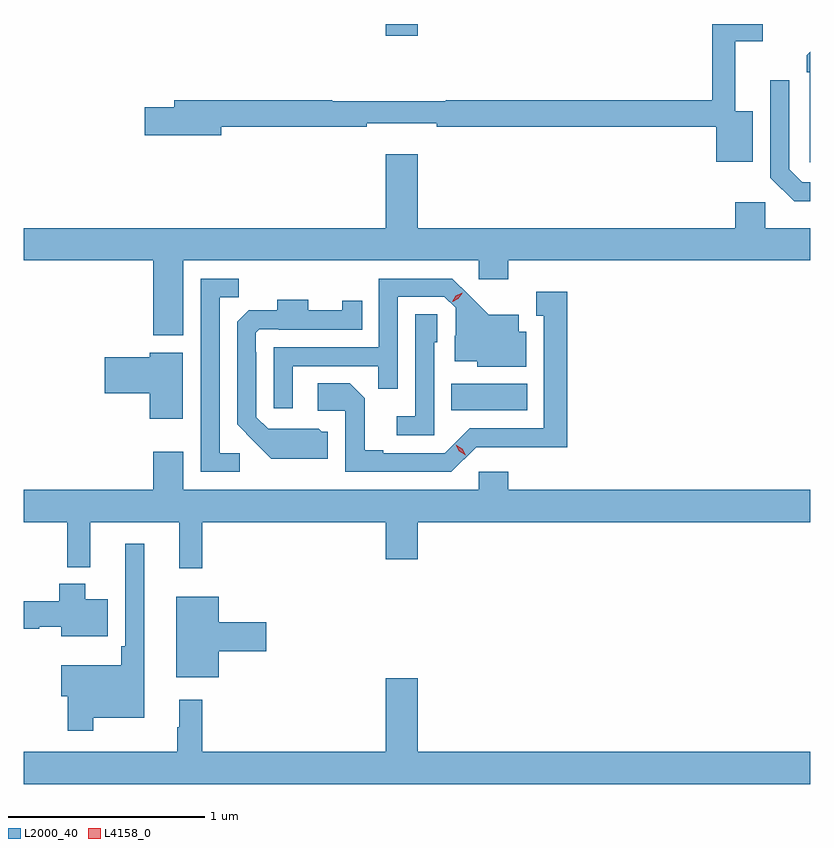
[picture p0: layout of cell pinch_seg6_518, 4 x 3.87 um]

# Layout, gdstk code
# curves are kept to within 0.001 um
import gdstk
lib = gdstk.Library(unit=1e-6, precision=1e-09)
def R(c, l, rs):  # rectangles x0, y0, x1, y1
    for r in rs: c.add(gdstk.rectangle(r[:2], r[2:], *l))
def P(c, l, *ps):  # polygons
    for p in ps: c.add(gdstk.Polygon(p, *l))
L2000_40 = (2000, 40)
L4158_0 = (4158, 0)

pinch_seg6_518 = lib.new_cell('pinch_seg6_518')
R(pinch_seg6_518, L2000_40, [(788.716,945.242,789.103,945.376), (788.384,947.148,788.548,947.207)])
P(pinch_seg6_518, L2000_40, [(790.252,946.762),(790.163,946.762),(790.163,947.118),(790.303,947.118),(790.303,947.207),(790.045,947.207),(790.045,946.82),(788.69,946.82),(788.69,946.813),(788.111,946.813),(788.111,946.82),(787.307,946.82),(787.307,946.784),(787.158,946.784),(787.158,946.642),(787.546,946.642),(787.546,946.684),(788.288,946.684),(788.288,946.703),(788.644,946.703),(788.644,946.684),(790.065,946.684),(790.065,946.505),(790.252,946.505)],
  [(790.543,947.065),(790.527,947.049),(790.527,946.961),(790.542,946.961),(790.542,946.503),(790.543,946.503)],
  [(790.543,946.401),(790.503,946.401),(790.437,946.467),(790.437,946.921),(790.341,946.921),(790.341,946.425),(790.462,946.304),(790.543,946.304)],
  [(787.354,946.004),(788.856,946.004),(788.856,945.909),(789.008,945.909),(789.008,946.004),(790.543,946.004),(790.543,946.168),(790.314,946.168),(790.314,946.3),(790.163,946.3),(790.163,946.168),(788.548,946.168),(788.548,946.543),(788.384,946.543),(788.384,946.168),(786.543,946.168),(786.543,946.004),(787.202,946.004),(787.202,945.624),(787.354,945.624)],
  [(787.911,945.465),(788.347,945.465),(788.347,945.352),(788.445,945.352),(788.445,945.819),(788.682,945.819),(788.739,945.762),(788.739,945.62),(788.735,945.62),(788.735,945.491),(788.85,945.491),(788.85,945.464),(789.1,945.464),(789.1,945.64),(789.061,945.64),(789.061,945.727),(788.909,945.727),(788.722,945.912),(788.349,945.912),(788.349,945.561),(787.815,945.561),(787.815,945.252),(787.911,945.252)],
  [(787.642,945.024),(787.539,945.024),(787.539,945.817),(787.635,945.817),(787.635,945.912),(787.443,945.912),(787.443,944.928),(787.642,944.928)],
  [(788.844,945.054),(789.307,945.053),(789.307,945.844),(789.149,945.844),(789.149,945.723),(789.188,945.723),(789.188,945.15),(788.811,945.15),(788.685,945.024),(788.371,945.024),(788.371,945.037),(788.277,945.037),(788.277,945.304),(788.201,945.38),(788.037,945.38),(788.037,945.24),(788.178,945.24),(788.178,944.928),(788.718,944.928)],
  [(788.089,945.132),(788.058,945.132),(788.042,945.148),(787.785,945.147),(787.725,945.207),(787.725,945.536),(787.722,945.536),(787.722,945.636),(787.74,945.654),(787.84,945.654),(787.84,945.651),(788.264,945.651),(788.264,945.799),(788.163,945.799),(788.163,945.75),(787.99,945.75),(787.99,945.805),(787.832,945.805),(787.832,945.751),(787.688,945.751),(787.629,945.692),(787.629,945.17),(787.801,944.996),(788.089,944.996)],
  [(788.631,945.588),(788.646,945.588),(788.646,945.731),(788.535,945.731),(788.535,945.211),(788.439,945.211),(788.439,945.114),(788.631,945.114)],
  [(787.351,945.535),(787.184,945.535),(787.184,945.512),(786.954,945.512),(786.954,945.329),(787.184,945.329),(787.184,945.198),(787.351,945.198)],
  [(787.451,944.672),(788.384,944.672),(788.384,944.484),(788.548,944.484),(788.548,944.672),(790.543,944.672),(790.543,944.836),(789.008,944.836),(789.008,944.929),(788.856,944.929),(788.856,944.836),(787.354,944.836),(787.354,945.031),(787.202,945.031),(787.202,944.836),(786.543,944.836),(786.543,944.672),(786.763,944.672),(786.763,944.444),(786.881,944.444),(786.881,944.672),(787.334,944.672),(787.334,944.439),(787.451,944.439)],
  [(786.895,943.676),(787.156,943.676),(787.156,944.563),(787.059,944.563),(787.059,944.041),(787.039,944.041),(787.039,943.945),(786.732,943.945),(786.732,943.787),(786.766,943.787),(786.766,943.611),(786.895,943.611)],
  [(786.97,944.281),(786.856,944.281),(786.856,944.359),(786.722,944.359),(786.722,944.271),(786.543,944.271),(786.543,944.129),(786.621,944.129),(786.621,944.141),(786.734,944.141),(786.734,944.093),(786.97,944.093)],
  [(787.534,944.015),(787.777,944.015),(787.777,944.162),(787.534,944.162),(787.534,944.293),(787.319,944.293),(787.319,943.883),(787.534,943.883)],
  [(790.543,943.504),(788.548,943.504),(788.548,943.879),(788.384,943.879),(788.384,943.504),(787.451,943.504),(787.451,943.768),(787.334,943.768),(787.334,943.628),(787.323,943.628),(787.323,943.504),(786.543,943.504),(786.543,943.34),(790.543,943.34)])
P(pinch_seg6_518, L4158_0, [(788.79,945.014),(788.758,945.033),(788.74,945.066),(788.74,945.066),(788.741,945.066),(788.772,945.047),(788.79,945.014),(788.79,945.014)],
  [(788.723,945.794),(788.723,945.794),(788.741,945.824),(788.772,945.839),(788.772,945.839),(788.772,945.838),(788.754,945.809),(788.724,945.794)])

lib.write_gds('pinch_seg6_518.gds')
